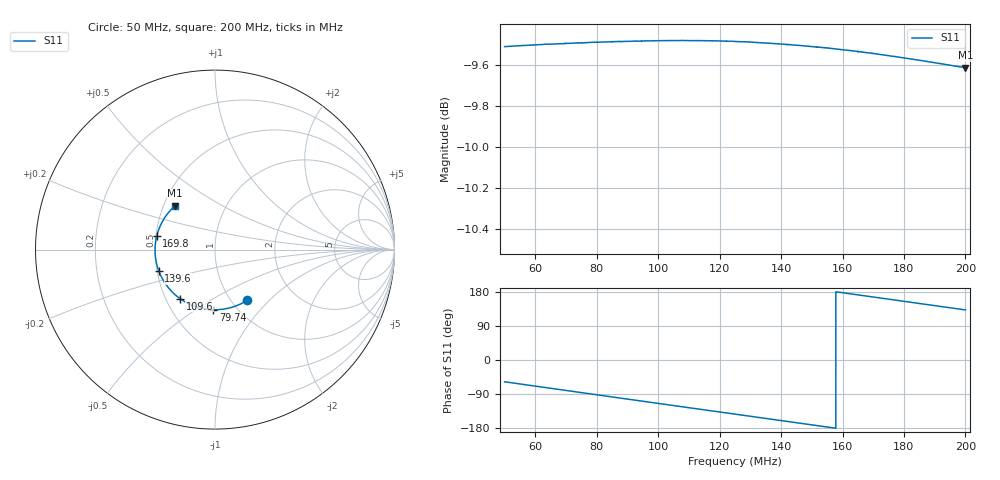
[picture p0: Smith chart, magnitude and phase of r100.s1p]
! COPPER MOUNTAIN TECHNOLOGIES, PLANAR TR1300/1, 00071119, 20.2.2/1.0
! Date: 1/7/2024 7:37:53 PM
! Data: Format [Calibration Info]
! Freq  S11: Re/Im F1
# HZ S RI R 50
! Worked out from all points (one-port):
!   12288 points, 50 MHz to 200 MHz, reference 50 ohm
!   lowest |S11| = -9.6 dB at 200 MHz (marker M1), VSWR 1.99, Z = 28.7 + j15.8 ohm
!   |S11| at or under -10 dB: nowhere
!   S11 on the Smith chart (normalised r, x): 50 MHz: 1.18, -0.75; 79.74 MHz: 0.79, -0.59; 109.6 MHz: 0.59, -0.36; 139.6 MHz: 0.51, -0.14; 169.8 MHz: 0.51, +0.09; 200 MHz: 0.57, +0.32
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5e7  0.1798 -0.282
5.30398e7  0.1624 -0.2925
5.9742e7  0.1218 -0.3118
6.413689e7  0.0941 -0.3214
6.875153e7  0.0641 -0.3288
7.409864e7  0.0288 -0.3339
7.973875e7  -0.00877 -0.3352
8.750305e7  -0.0602 -0.33
9.215431e7  -0.0904 -0.3231
9.675673e7  -0.1195 -0.3136
1.015179e8  -0.1485 -0.3009
1.062546e8  -0.1761 -0.2857
1.095996e8  -0.1946 -0.2734
1.172662e8  -0.2336 -0.2409
1.250061e8  -0.2675 -0.2024
1.322577e8  -0.2935 -0.1621
1.396435e8  -0.3136 -0.1177
1.437576e8  -0.322 -0.0918
1.484943e8  -0.3289 -0.0613
1.532188e8  -0.3329 -0.0304
1.578213e8  -0.334 -5.64e-05
1.625092e8  -0.3323 0.0308
1.697729e8  -0.324 0.0779
1.754252e8  -0.3128 0.1134
1.812607e8  -0.2972 0.1485
1.898795e8  -0.267 0.1964
1.958981e8  -0.2413 0.2265
2e8  -0.2218 0.2451
